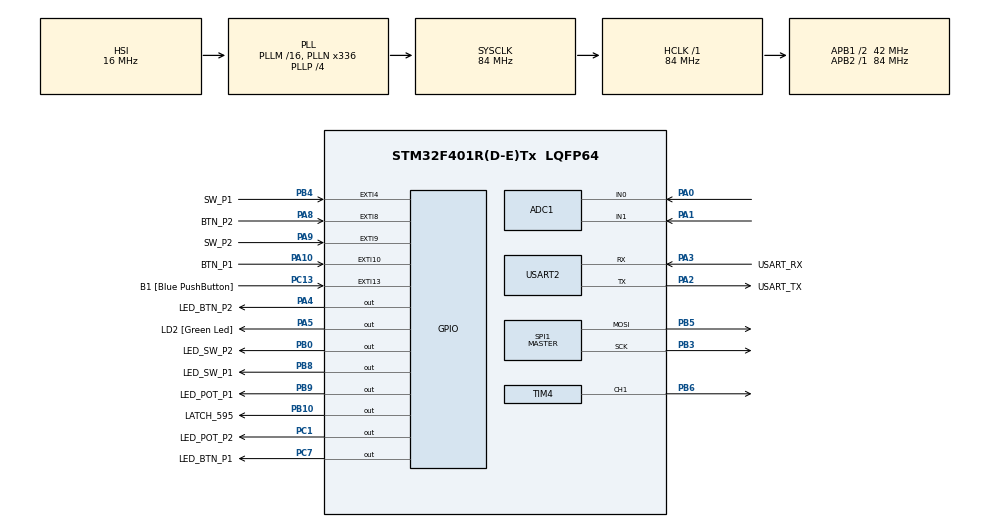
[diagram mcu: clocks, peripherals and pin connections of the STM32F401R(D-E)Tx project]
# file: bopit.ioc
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ADC1.Channel-0\#ChannelRegularConversion=ADC_CHANNEL_0
ADC1.Channel-1\#ChannelRegularConversion=ADC_CHANNEL_1
ADC1.ContinuousConvMode=ENABLE
ADC1.DMAContinuousRequests=ENABLE
ADC1.DiscontinuousConvMode=DISABLE
ADC1.NbrOfConversion=2
ADC1.NbrOfConversionFlag=1
ADC1.Rank-0\#ChannelRegularConversion=1
ADC1.Rank-1\#ChannelRegularConversion=2
ADC1.SamplingTime-0\#ChannelRegularConversion=ADC_SAMPLETIME_84CYCLES
ADC1.SamplingTime-1\#ChannelRegularConversion=ADC_SAMPLETIME_84CYCLES
ADC1.ScanConvMode=ENABLE
ADC1.master=1
Dma.ADC1.0.Direction=DMA_PERIPH_TO_MEMORY
Dma.ADC1.0.FIFOMode=DMA_FIFOMODE_DISABLE
Dma.ADC1.0.Instance=DMA2_Stream0
Dma.ADC1.0.MemDataAlignment=DMA_MDATAALIGN_HALFWORD
Dma.ADC1.0.MemInc=DMA_MINC_ENABLE
Dma.ADC1.0.Mode=DMA_CIRCULAR
Dma.ADC1.0.PeriphDataAlignment=DMA_PDATAALIGN_HALFWORD
Dma.ADC1.0.PeriphInc=DMA_PINC_DISABLE
Dma.ADC1.0.Priority=DMA_PRIORITY_LOW
Dma.Request0=ADC1
FREERTOS.Tasks01=defaultTask,24,128,StartDefaultTask,Default,NULL,Dynamic,NULL,NULL
FREERTOS.configCHECK_FOR_STACK_OVERFLOW=2
FREERTOS.configTOTAL_HEAP_SIZE=32768
FREERTOS.configUSE_MALLOC_FAILED_HOOK=1
FREERTOS.configUSE_NEWLIB_REENTRANT=1
Mcu.Family=STM32F4
Mcu.Name=STM32F401R(D-E)Tx
Mcu.Package=LQFP64
NVIC.DMA2_Stream0_IRQn=true\:5\:0\:false\:false\:true\:true\:false\:true\:true
NVIC.EXTI15_10_IRQn=true\:5\:0\:false\:false\:true\:true\:true\:true\:true
NVIC.EXTI4_IRQn=true\:5\:0\:true\:false\:true\:true\:true\:true\:true
NVIC.EXTI9_5_IRQn=true\:5\:0\:true\:false\:true\:true\:true\:true\:true
NVIC.PriorityGroup=NVIC_PRIORITYGROUP_4
NVIC.TIM1_TRG_COM_TIM11_IRQn=true\:15\:0\:false\:false\:true\:false\:false\:true\:true
NVIC.TimeBase=TIM1_TRG_COM_TIM11_IRQn
NVIC.TimeBaseIP=TIM11
PA0-WKUP.Signal=ADCx_IN0
PA1.Signal=ADCx_IN1
PA10.GPIO_Label=BTN_P1
PA10.GPIO_ModeDefaultEXTI=GPIO_MODE_IT_FALLING
PA10.GPIO_PuPd=GPIO_PULLUP
PA10.Signal=GPXTI10
PA13.GPIO_Label=TMS
PA13.Signal=SYS_JTMS-SWDIO
PA14.GPIO_Label=TCK
PA14.Signal=SYS_JTCK-SWCLK
PA2.GPIO_Label=USART_TX
PA2.GPIO_Mode=GPIO_MODE_AF_PP
PA2.GPIO_PuPd=GPIO_NOPULL
PA2.GPIO_Speed=GPIO_SPEED_FREQ_LOW
PA2.Mode=Asynchronous
PA2.Signal=USART2_TX
PA3.GPIO_Label=USART_RX
PA3.GPIO_Mode=GPIO_MODE_AF_PP
PA3.GPIO_PuPd=GPIO_NOPULL
PA3.GPIO_Speed=GPIO_SPEED_FREQ_LOW
PA3.Mode=Asynchronous
PA3.Signal=USART2_RX
PA4.GPIO_Label=LED_BTN_P2
PA4.Signal=GPIO_Output
PA5.GPIO_Label=LD2 [Green Led]
PA5.GPIO_Mode=GPIO_MODE_OUTPUT_PP
PA5.GPIO_PuPd=GPIO_NOPULL
PA5.GPIO_Speed=GPIO_SPEED_FREQ_LOW
PA5.Signal=GPIO_Output
PA8.GPIO_Label=BTN_P2
PA8.GPIO_ModeDefaultEXTI=GPIO_MODE_IT_FALLING
PA8.GPIO_PuPd=GPIO_PULLUP
PA8.Signal=GPXTI8
PA9.GPIO_Label=SW_P2
PA9.GPIO_ModeDefaultEXTI=GPIO_MODE_IT_RISING_FALLING
PA9.GPIO_PuPd=GPIO_PULLUP
PA9.Signal=GPXTI9
PB0.GPIO_Label=LED_SW_P2
PB0.Signal=GPIO_Output
PB10.GPIO_Label=LATCH_595
PB10.Signal=GPIO_Output
PB3.Mode=TX_Only_Simplex_Unidirect_Master
PB3.Signal=SPI1_SCK
PB4.GPIO_Label=SW_P1
PB4.GPIO_ModeDefaultEXTI=GPIO_MODE_IT_RISING_FALLING
PB4.GPIO_PuPd=GPIO_PULLUP
PB4.Signal=GPXTI4
PB5.Mode=TX_Only_Simplex_Unidirect_Master
PB5.Signal=SPI1_MOSI
PB6.Signal=S_TIM4_CH1
PB8.GPIO_Label=LED_SW_P1
PB8.Signal=GPIO_Output
PB9.GPIO_Label=LED_POT_P1
PB9.Signal=GPIO_Output
PC1.GPIO_Label=LED_POT_P2
PC1.Signal=GPIO_Output
PC13-ANTI_TAMP.GPIO_Label=B1 [Blue PushButton]
PC13-ANTI_TAMP.GPIO_ModeDefaultEXTI=GPIO_MODE_IT_FALLING
PC13-ANTI_TAMP.GPIO_PuPd=GPIO_NOPULL
PC13-ANTI_TAMP.Signal=GPXTI13
PC14-OSC32_IN.Mode=LSE-External-Oscillator
PC14-OSC32_IN.Signal=RCC_OSC32_IN
PC15-OSC32_OUT.Mode=LSE-External-Oscillator
PC15-OSC32_OUT.Signal=RCC_OSC32_OUT
PC7.GPIO_Label=LED_BTN_P1
PC7.Signal=GPIO_Output
PH0\ -\ OSC_IN.Mode=HSE-External-Clock-Source
PH0\ -\ OSC_IN.Signal=RCC_OSC_IN
PH1\ -\ OSC_OUT.Mode=HSE-External-Clock-Source
PH1\ -\ OSC_OUT.Signal=RCC_OSC_OUT
ProjectManager.HeapSize=0x200
ProjectManager.StackSize=0x400
ProjectManager.TargetToolchain=STM32CubeIDE
RCC.48MHZClocksFreq_Value=48000000
RCC.AHBFreq_Value=84000000
RCC.APB1CLKDivider=RCC_HCLK_DIV2
RCC.APB1Freq_Value=42000000
RCC.APB1TimFreq_Value=84000000
RCC.APB2Freq_Value=84000000
RCC.APB2TimFreq_Value=84000000
RCC.CortexFreq_Value=84000000
RCC.HCLKFreq_Value=84000000
RCC.HSE_VALUE=8000000
RCC.HSI_VALUE=16000000
RCC.PLLN=336
RCC.PLLP=RCC_PLLP_DIV4
RCC.PLLQ=7
RCC.SYSCLKFreq_VALUE=84000000
RCC.SYSCLKSource=RCC_SYSCLKSOURCE_PLLCLK
RCC.VCOOutputFreq_Value=336000000
SH.ADCx_IN0.0=ADC1_IN0,IN0
SH.ADCx_IN1.0=ADC1_IN1,IN1
SH.S_TIM4_CH1.0=TIM4_CH1,PWM Generation1 CH1
SPI1.BaudRatePrescaler=SPI_BAUDRATEPRESCALER_16
SPI1.Direction=SPI_DIRECTION_2LINES
SPI1.Mode=SPI_MODE_MASTER
SPI1.VirtualType=VM_MASTER
TIM2.Prescaler=83
TIM4.Channel-PWM\ Generation1\ CH1=TIM_CHANNEL_1
TIM4.Period=999
TIM4.Prescaler=83
USART2.VirtualMode=VM_ASYNC
VP_FREERTOS_VS_CMSIS_V2.Mode=CMSIS_V2
VP_SYS_VS_tim11.Mode=TIM11
VP_TIM2_VS_ClockSourceINT.Mode=Internal
board=NUCLEO-F401RE

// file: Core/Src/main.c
/* USER CODE BEGIN Header */
/**
  ******************************************************************************
  * @file           : main.c
  * @brief          : Main program body
  ******************************************************************************
  * @attention
  *
  * Copyright (c) 2026 STMicroelectronics.
  * All rights reserved.
  *
  * This software is licensed under terms that can be found in the LICENSE file
  * in the root directory of this software component.
  * If no LICENSE file comes with this software, it is provided AS-IS.
  *
  ******************************************************************************
  */
/* USER CODE END Header */
#include "main.h"
#include "cmsis_os.h"
#include "adc.h"
#include "dma.h"
#include "spi.h"
#include "tim.h"
#include "usart.h"
#include "gpio.h"
#include "semphr.h"
#include "stm32f4xx_hal.h"
#include "timers.h"

#include <stdbool.h>
#include <stdarg.h>
#include <stdio.h>

/* USER CODE BEGIN PV */

// Enums and Structs
typedef enum {
  BOP, TWIST, PULL
} State;

// Results of both players at the end of a round
typedef struct {
  uint32_t player1_time;
  uint32_t player2_time;
} Time_Result;

// Arguments handed to each player task on creation
typedef struct {
  QueueHandle_t inputQueue;   // ISR -> player
  QueueHandle_t resultQueue;  // player -> IO manager
} Player_Args;

// Game settings
#define SCORE_THRESHOLD 9
#define ROUND_PAUSE_MS  1000   // pause before every round so the players can get ready
#define DEBOUNCE_MS     30     // after a button/switch edge, further edges on that pin are ignored for this long
#define TWIST_THRESHOLD 1000   // ADC counts (of 4095) a pot must move from its position at the cue
#define POT_POLL_MS     1      // how often the pots are checked

// Round timing
#define ROUND_TIMEOUT_START_MS  3000
#define ROUND_TIMEOUT_STEP_MS   100   // shorten a round by this amount
#define ROUND_TIMEOUT_MIN_MS    1000
#define LATE_GRACE_MS           500     // after the limit a correct input is still noticed and reported as "late" (no point). 0 = off
#define NO_REACTION             0xFFFFFFFFu   // "reaction time" of a player who did not react at all

// Outputs
#define SEG_COMMON_ANODE  0     // set to 1 if the 7-segment displays are common anode
// Buzzer default parameters
#define BEEP_HZ           1000
#define BEEP_MS           100

// Task priorities
#define PRIO_PLAYER     osPriorityAboveNormal
#define PRIO_IO         osPriorityAboveNormal
#define PRIO_ROUND      osPriorityNormal
#define PRIO_SCORE      osPriorityBelowNormal
#define PRIO_POT        osPriorityAboveNormal

// Stack settings
#define STACK_WORDS     256
#define STACK_ROUND_WORDS 512   // the round manager formats text for the UART log

// semaphores and mutexes

static SemaphoreHandle_t gameStateMutex;
static State gameState;

static SemaphoreHandle_t scoreMutex;
static size_t player1_score = 0;
static size_t player2_score = 0;

// best (shortest) on-time reaction of each player, in ms
static uint32_t best_time[2] = { NO_REACTION, NO_REACTION };

// time to react in a round (changed by the round manager)
static volatile uint32_t round_timeout_ms = ROUND_TIMEOUT_START_MS;

// Handles for tasks
TaskHandle_t round_manager_handle = NULL;
TaskHandle_t io_manager_handle = NULL;
TaskHandle_t player1_handle = NULL;
TaskHandle_t player2_handle = NULL;
TaskHandle_t score_manager_handle = NULL;
TaskHandle_t pot_monitor_handle = NULL;

// Handles for queues

// from ISR to players
QueueHandle_t player1_input;
QueueHandle_t player2_input;

// from players to Io Manager
QueueHandle_t player1_result;
QueueHandle_t player2_result;

QueueHandle_t io_manager_result;

// Enum aliases for various pins.

// Convenience struct for pin info. Uses CubeMX user labels.
typedef struct {
  GPIO_TypeDef *port;
  uint16_t pin;
} Pin;

// Indicator lights
static const Pin led_twist = { LED_POT_P1_GPIO_Port, LED_POT_P1_Pin };   // D14
static const Pin led_bop   = { LED_BTN_P1_GPIO_Port, LED_BTN_P1_Pin };   // D9
static const Pin led_pull  = { LED_SW_P1_GPIO_Port,  LED_SW_P1_Pin };    // D15

// Inputs Player 1
static const uint16_t pin_bop1   = BTN_P1_Pin;   // PA10 (D2)
static const uint16_t pin_pull1  = SW_P1_Pin;    // PB4  (D5)

// Inputs player 2
static const uint16_t pin_bop2   = BTN_P2_Pin;   // PA8  (D7)
static const uint16_t pin_pull2  = SW_P2_Pin;    // PA9  (D8)

// 7 seg displays for score
uint16_t pin_score;
// uint16_t pin_score1;
// uint16_t pin_score2;

// Buzzer
uint16_t pin_buzzer;

/* USER CODE END PV */

// Buzzer with 1 MHz timer
void buzzer_tone(uint32_t hz)
{
  if (hz == 0) {
    __HAL_TIM_SET_COMPARE(&htim4, TIM_CHANNEL_1, 0);          // silent
    return;
  }
  uint32_t period = 1000000u / hz;
  __HAL_TIM_SET_AUTORELOAD(&htim4, period - 1);
  __HAL_TIM_SET_COMPARE(&htim4, TIM_CHANNEL_1, period / 2);   // 50 % duty
}

void buzz(uint32_t hz, uint32_t ms)
{
  buzzer_tone(hz);
  vTaskDelay(pdMS_TO_TICKS(ms));
  buzzer_tone(0);
}

// xorshift32 pseudo random generator. It keeps its state between calls.
static uint32_t random_state = 0;

uint32_t random_next(void)
{
  if (random_state == 0) {
    // define random state.
    random_state = (HAL_GetTick() ^ (SysTick->VAL << 8)) | 1u;
  }
  uint32_t x = random_state;
  x ^= x << 13;
  x ^= x >> 17;
  x ^= x << 5;
  random_state = x;
  return x;
}

State get_random_gameState() {
  // the states that can be asked (TWIST only once the pot is implemented)
  return (State) (random_next() % 3);
}

void buzz_once()
{
  buzz(BEEP_HZ, BEEP_MS);
}

void led_write(const Pin *led, GPIO_PinState state)
{
  HAL_GPIO_WritePin(led->port, led->pin, state);
}

// Set all LEDs to the same input state
void set_all_leds(GPIO_PinState pinState)
{
  led_write(&led_twist, pinState);
  led_write(&led_bop, pinState);
  led_write(&led_pull, pinState);
}

// 7-segment displays: two 74HC595 shift registers, daisy chained on SPI1 (left chip = player 1, right chip = player 2)
// bit0 = segment a ... bit6 = g (595 outputs QA..QG)
static const uint8_t seg_digit[10] = {
    0xC0, 0xF9, 0xA4, 0xB0, 0x99,
    0x92, 0x82, 0xF8, 0x80, 0x90
};

static uint8_t seg_pattern(size_t digit)
{
  uint8_t v = seg_digit[digit > 9 ? 9 : digit];
#if SEG_COMMON_ANODE
  v = (uint8_t)~v;
#endif
  return v;
}

// Show input values on 7-segment displays
void display_show(size_t score1, size_t score2)
{
  // the first byte clocked out ends up in the last chip of the chain: player 1 (left) goes first
  uint8_t frame[2] = { seg_pattern(score1), seg_pattern(score2) };
  HAL_SPI_Transmit(&hspi1, frame, 2, 10);
  HAL_GPIO_WritePin(LATCH_595_GPIO_Port, LATCH_595_Pin, GPIO_PIN_SET);    // outputs take the new bits
  HAL_GPIO_WritePin(LATCH_595_GPIO_Port, LATCH_595_Pin, GPIO_PIN_RESET);
}

// UART log (115200 baud, ST-LINK virtual COM port).
void uart_printf(const char *fmt, ...)
{
  char buf[160];
  va_list ap;
  va_start(ap, fmt);
  int n = vsnprintf(buf, sizeof buf, fmt, ap);
  va_end(ap);
  if (n > 0) {
    HAL_UART_Transmit(&huart2, (uint8_t *)buf, (uint16_t)(n < (int)sizeof buf ? n : (int)sizeof buf - 1), 100);
  }
}

// Potentiometer monitoring for Twist.
static volatile uint16_t pot_raw[2];
static volatile uint16_t pot_ref[2];      // pot position at the cue
static volatile bool pot_armed = false;   // true while a TWIST round is running
static volatile bool pot_fired[2];        // this pot already reported its move in this round

// Reset old pot data, set pots to active, store current pot values
void pot_arm(void)
{
  pot_ref[0] = pot_raw[0];
  pot_ref[1] = pot_raw[1];
  pot_fired[0] = false;
  pot_fired[1] = false;
  pot_armed = true;
}

// Disable pot monitoring
void pot_disarm(void)
{
  pot_armed = false;
}

// Repeatedly poll the pots to see if they've been twisted.
void pot_monitor(void *args)
{
  (void)args;
  TickType_t last_wake = xTaskGetTickCount();

  for (;;) {
    vTaskDelayUntil(&last_wake, pdMS_TO_TICKS(POT_POLL_MS));
    if (!pot_armed)
      continue;

    // For both pots..
    for (int p = 0; p < 2; p++) {
      int32_t delta = (int32_t)pot_raw[p] - (int32_t)pot_ref[p];

      if (delta < 0)
        delta = -delta;

      // if moved far enough and not reported yet
      if (!pot_fired[p] && delta >= TWIST_THRESHOLD) {
        // Mark pot as fired and communicate to relevant player
        pot_fired[p] = true;
        State state = TWIST;
        xQueueSend(p == 0 ? player1_input : player2_input, &state, 0);
      }
    }
  }
}

// Time a player has to react in this round.
// Timeout shrinks every round, down to a minimum
static uint32_t timeout_for_round(uint32_t round)
{
  uint32_t cut = (round - 1) * ROUND_TIMEOUT_STEP_MS;
  uint32_t max_cut = ROUND_TIMEOUT_START_MS - ROUND_TIMEOUT_MIN_MS;
  return (cut >= max_cut) ? ROUND_TIMEOUT_MIN_MS : (ROUND_TIMEOUT_START_MS - cut);
}

typedef enum {
  REACTION_NONE,   // the player did not react at all
  REACTION_LATE,   // correct input, but after the time limit
  REACTION_OK      // correct input in time
} Reaction;

static Reaction classify(uint32_t time_ms, uint32_t timeout_ms)
{
  if (time_ms == NO_REACTION) {
    return REACTION_NONE;
  }
  return (time_ms > timeout_ms) ? REACTION_LATE : REACTION_OK;
}

// Formatted text for the log: "312 ms", "late (3105 ms)" or "none"
static void format_reaction(char *buf, size_t len, uint32_t time_ms, Reaction kind)
{
  switch (kind) {
    case REACTION_OK:
      snprintf(buf, len, "%lu ms", (unsigned long)time_ms);
      break;

    case REACTION_LATE:
      snprintf(buf, len, "late (%lu ms)", (unsigned long)time_ms);
      break;

    default:
      snprintf(buf, len, "none");
      break;
  }
}

// Get name of state as a string
static const char *state_name(State state)
{
  switch (state) {
    case BOP:   return "BOP";
    case TWIST: return "TWIST";
    default:    return "PULL";
  }
}

void round_manager(void *args) {
  for (;;) {

    // wait for blue button
    uart_printf("\r\nBOP-IT: Press the blue button to start (first to %u wins, free heap %u bytes)\r\n",
                (unsigned)SCORE_THRESHOLD, (unsigned)xPortGetFreeHeapSize());
    ulTaskNotifyTake(pdTRUE, 0);              // forget presses from before
    ulTaskNotifyTake(pdTRUE, portMAX_DELAY);

    // Reset scores and start new game
    xSemaphoreTake(scoreMutex, portMAX_DELAY);
    player1_score = 0;
    player2_score = 0;
    xSemaphoreGive(scoreMutex);

    // Reset best time and score displays
    xTaskNotifyGive(score_manager_handle);
    best_time[0] = NO_REACTION;
    best_time[1] = NO_REACTION;

    int game_winner = 0; // 0 = no winner, game is still running
    for (uint32_t round = 1; game_winner == 0; round++) {

      // Turn off all LEDs
      set_all_leds(GPIO_PIN_RESET);

      // short pause so the players can get ready
      vTaskDelay(pdMS_TO_TICKS(ROUND_PAUSE_MS));

      // time to react in this round (the players read it when they are started)
      round_timeout_ms = timeout_for_round(round);

      // buzz once: the round starts
      buzz_once();

      // start I/O manager
      xTaskNotifyGive(io_manager_handle);

      // wait for I/O manager with timing results (the result queue is the only signal)
      Time_Result timeResult;
      xQueueReceive(io_manager_result, &timeResult, portMAX_DELAY);

      // classify both reactions: in time, late (after the limit) or none at all
      uint32_t p1_time = timeResult.player1_time;
      uint32_t p2_time = timeResult.player2_time;
      Reaction r1 = classify(p1_time, round_timeout_ms);
      Reaction r2 = classify(p2_time, round_timeout_ms);

      // determine winner: the faster of the players who were in time. Late or no reaction = no point.
      int winner = 0;                         // 0 = nobody scores this round
      if (r1 == REACTION_OK && r2 == REACTION_OK) {
        winner = (p1_time < p2_time) ? 1 : 2; // equal times: player 2 (ties are not handled yet)
      } else if (r1 == REACTION_OK) {
        winner = 1;
      } else if (r2 == REACTION_OK) {
        winner = 2;
      }

      // best reaction time of each player (in-time reactions only)
      if (r1 == REACTION_OK && p1_time < best_time[0]) {
        best_time[0] = p1_time;
      }
      if (r2 == REACTION_OK && p2_time < best_time[1]) {
        best_time[1] = p2_time;
      }

      // update scores and tell the score manager
      xSemaphoreTake(scoreMutex, portMAX_DELAY);
      if (winner == 1) {
        player1_score++;
      } else if (winner == 2) {
        player2_score++;
      }

      size_t score1 = player1_score;
      size_t score2 = player2_score;
      xSemaphoreGive(scoreMutex);
      xTaskNotifyGive(score_manager_handle);

      // log the round
      char t1[24], t2[24], b1[24], b2[24];
      format_reaction(t1, sizeof t1, p1_time, r1);
      format_reaction(t2, sizeof t2, p2_time, r2);
      format_reaction(b1, sizeof b1, best_time[0], best_time[0] == NO_REACTION ? REACTION_NONE : REACTION_OK);
      format_reaction(b2, sizeof b2, best_time[1], best_time[1] == NO_REACTION ? REACTION_NONE : REACTION_OK);
      uart_printf("Round %lu (limit %lu ms) %s: P1 %s | P2 %s | %s | score %u-%u | best P1 %s, P2 %s\r\n",
                  (unsigned long)round, (unsigned long)round_timeout_ms, state_name(gameState),
                  t1, t2,
                  winner == 1 ? "P1 scores" : (winner == 2 ? "P2 scores" : "nobody"),
                  (unsigned)score1, (unsigned)score2, b1, b2);

      // if winner threshold reached, enter winstate
      if (score1 >= SCORE_THRESHOLD) {
        game_winner = 1;
      } else if (score2 >= SCORE_THRESHOLD) {
        game_winner = 2;
      }
    }

    // Win state
    set_all_leds(GPIO_PIN_RESET);
    uart_printf("*** Player %d wins! ***\r\n", game_winner);

    // Victory tone
    static const uint32_t notes[] = { 523, 659, 784, 1047, 784, 1047 };

    // flash LEDs
    for (uint32_t i = 0; i < sizeof(notes) / sizeof(notes[0]); i++) {
      GPIO_PinState pinState = (i % 2 == 0) ? GPIO_PIN_SET : GPIO_PIN_RESET;

      set_all_leds(pinState);
      buzz(notes[i], 150);
    }

    set_all_leds(GPIO_PIN_RESET);
  }
}

void io_manager(void *args)
{
  uint32_t player1_value;
  uint32_t player2_value;

  for (;;) {
    // Wait until start notification
    ulTaskNotifyTake(pdTRUE, portMAX_DELAY);

    // pick a random game state.
    if (xSemaphoreTake(gameStateMutex, portMAX_DELAY) == pdTRUE) {
      gameState = get_random_gameState();
      xSemaphoreGive(gameStateMutex);
    }

    // Discard irrelevant inputs outside of this round.
    xQueueReset(player1_input);
    xQueueReset(player2_input);

    // Turn on the correct LEDs
    switch (gameState) {
      case BOP:
        led_write(&led_bop, GPIO_PIN_SET);
      break;
      case TWIST:
        led_write(&led_twist, GPIO_PIN_SET);
      break;
      case PULL:
        led_write(&led_pull, GPIO_PIN_SET);
      break;
    }

    if (gameState == TWIST) {
      pot_arm();
    }

    // start player tasks 1 and 2
    xTaskNotifyGive(player1_handle);
    xTaskNotifyGive(player2_handle);

    // wait for both players
    xQueueReceive(player1_result, &player1_value, portMAX_DELAY);
    xQueueReceive(player2_result, &player2_value, portMAX_DELAY);

    pot_disarm();
    set_all_leds(GPIO_PIN_RESET);

    // determine winner. 1 if p1 wins, 2 if p2 wins.
    // a draw is assumed to be impossible
    // uint32_t winner = 1 + (player2_value  < player1_value);

    buzz_once();

    // send results back to round manager.
    Time_Result result = { player1_value, player2_value };
    xQueueSend(io_manager_result, &result, portMAX_DELAY);
  }
}

void player(void *args)
{

  Player_Args* player_args = (Player_Args*) args;

  QueueHandle_t inputQueue = player_args->inputQueue;
  QueueHandle_t resultQueue = player_args->resultQueue;
  State receivedState;

  for (;;) {
    // Wait until IO manager notifies start
    ulTaskNotifyTake(pdTRUE, portMAX_DELAY);

    // Timing
    uint32_t start_time = HAL_GetTick();
    uint32_t max_time = round_timeout_ms + LATE_GRACE_MS;
    uint32_t elapsed = 0;
    uint32_t reaction = NO_REACTION;

    // wait for input
    while(elapsed < max_time) {
      // wait for ISR message until timeout.
      if (xQueueReceive(inputQueue, &receivedState, pdMS_TO_TICKS(max_time - elapsed)) == pdPASS) {
        // Get game state mutex to verify player input
        if (xSemaphoreTake(gameStateMutex, portMAX_DELAY) == pdTRUE) {
          // correct input
          if (receivedState == gameState) {
            reaction = HAL_GetTick() - start_time;
            xSemaphoreGive(gameStateMutex); // release mutex
            break; // exit while loop and go back to initial waiting state again
          }
          // Release mutex, go back to waiting for input
          xSemaphoreGive(gameStateMutex);
        }
      }
      elapsed = HAL_GetTick() - start_time;
    }
    xQueueOverwrite(resultQueue, &reaction);
  }
}

void score_manager(void *args)
{
  for (;;) {
    // wait until notification is received
    ulTaskNotifyTake(pdTRUE, portMAX_DELAY);

    // read score mutex
    xSemaphoreTake(scoreMutex, portMAX_DELAY);
    size_t score1 = player1_score;
    size_t score2 = player2_score;
    xSemaphoreGive(scoreMutex);

    // update 7 seg displays
    display_show(score1, score2);
  }
}

// Creates the mutex, the queues and the tasks. Called once from main(), before the scheduler starts.
static Player_Args player1_args;
static Player_Args player2_args;

void game_init(void)
{
  // Let potentiometer use DMA for faster polling
  if (HAL_ADC_Start_DMA(&hadc1, (uint32_t *)pot_raw, 2) != HAL_OK) {
    Error_Handler();
  }
  HAL_NVIC_DisableIRQ(DMA2_Stream0_IRQn);

  // buzzer: PWM running with the compare value 0 (silent); buzzer_tone() sets the pitch
  HAL_TIM_PWM_Start(&htim4, TIM_CHANNEL_1);
  buzzer_tone(0);

  // show 0 on displays
  display_show(0, 0);

  gameStateMutex = xSemaphoreCreateMutex();
  scoreMutex = xSemaphoreCreateMutex();

  // Set up queues
  player1_input = xQueueCreate(8, sizeof(State));
  player2_input = xQueueCreate(8, sizeof(State));

  player1_result = xQueueCreate(1, sizeof(uint32_t));
  player2_result = xQueueCreate(1, sizeof(uint32_t));

  io_manager_result = xQueueCreate(1, sizeof(Time_Result));

  // Initialization safety check.
  if (gameStateMutex == NULL || scoreMutex == NULL || player1_input == NULL || player2_input == NULL ||
      player1_result == NULL || player2_result == NULL || io_manager_result == NULL) {
    Error_Handler();
  }

  player1_args.inputQueue = player1_input;
  player1_args.resultQueue = player1_result;
  player2_args.inputQueue = player2_input;
  player2_args.resultQueue = player2_result;

  // Create all tasks with error handling.
  if (xTaskCreate(io_manager, "io_manager", STACK_WORDS, NULL, PRIO_IO, &io_manager_handle) != pdPASS ||
      xTaskCreate(player, "player1", STACK_WORDS, &player1_args, PRIO_PLAYER, &player1_handle) != pdPASS ||
      xTaskCreate(player, "player2", STACK_WORDS, &player2_args, PRIO_PLAYER, &player2_handle) != pdPASS ||
      xTaskCreate(score_manager, "score_manager", STACK_WORDS, NULL, PRIO_SCORE, &score_manager_handle) != pdPASS ||
      xTaskCreate(round_manager, "round_manager", STACK_ROUND_WORDS, NULL, PRIO_ROUND, &round_manager_handle) != pdPASS ||
      xTaskCreate(pot_monitor, "pot_monitor", 128, NULL, PRIO_POT, &pot_monitor_handle) != pdPASS) {
    Error_Handler();
  }
}

void SystemClock_Config(void);
void MX_FREERTOS_Init(void);

int main(void)
{

  /* MCU Configuration--------------------------------------------------------*/

  /* Reset of all peripherals, Initializes the Flash interface and the Systick. */
  HAL_Init();

  /* Configure the system clock */
  SystemClock_Config();

  /* Initialize all configured peripherals */
  MX_GPIO_Init();
  MX_DMA_Init();
  MX_ADC1_Init();
  MX_SPI1_Init();
  MX_USART2_UART_Init();
  MX_TIM2_Init();
  MX_TIM4_Init();
  /* USER CODE BEGIN 2 */
  game_init();
  /* USER CODE END 2 */

  /* Init scheduler */
  osKernelInitialize();  /* Call init function for freertos objects (in cmsis_os2.c) */
  MX_FREERTOS_Init();

  /* Start scheduler */
  osKernelStart();

  /* We should never get here as control is now taken by the scheduler */

  /* Infinite loop */
  while (1)
  {

  }
}

void SystemClock_Config(void)
{
  RCC_OscInitTypeDef RCC_OscInitStruct = {0};
  RCC_ClkInitTypeDef RCC_ClkInitStruct = {0};

  /** Configure the main internal regulator output voltage
  */
  __HAL_RCC_PWR_CLK_ENABLE();
  __HAL_PWR_VOLTAGESCALING_CONFIG(PWR_REGULATOR_VOLTAGE_SCALE2);

  /** Initializes the RCC Oscillators according to the specified parameters
  * in the RCC_OscInitTypeDef structure.
  */
  RCC_OscInitStruct.OscillatorType = RCC_OSCILLATORTYPE_HSI;
  RCC_OscInitStruct.HSIState = RCC_HSI_ON;
  RCC_OscInitStruct.HSICalibrationValue = RCC_HSICALIBRATION_DEFAULT;
  RCC_OscInitStruct.PLL.PLLState = RCC_PLL_ON;
  RCC_OscInitStruct.PLL.PLLSource = RCC_PLLSOURCE_HSI;
  RCC_OscInitStruct.PLL.PLLM = 16;
  RCC_OscInitStruct.PLL.PLLN = 336;
  RCC_OscInitStruct.PLL.PLLP = RCC_PLLP_DIV4;
  RCC_OscInitStruct.PLL.PLLQ = 7;
  if (HAL_RCC_OscConfig(&RCC_OscInitStruct) != HAL_OK)
  {
    Error_Handler();
  }

  /** Initializes the CPU, AHB and APB buses clocks
  */
  RCC_ClkInitStruct.ClockType = RCC_CLOCKTYPE_HCLK|RCC_CLOCKTYPE_SYSCLK
                              |RCC_CLOCKTYPE_PCLK1|RCC_CLOCKTYPE_PCLK2;
  RCC_ClkInitStruct.SYSCLKSource = RCC_SYSCLKSOURCE_PLLCLK;
  RCC_ClkInitStruct.AHBCLKDivider = RCC_SYSCLK_DIV1;
  RCC_ClkInitStruct.APB1CLKDivider = RCC_HCLK_DIV2;
  RCC_ClkInitStruct.APB2CLKDivider = RCC_HCLK_DIV1;

  if (HAL_RCC_ClockConfig(&RCC_ClkInitStruct, FLASH_LATENCY_2) != HAL_OK)
  {
    Error_Handler();
  }
}

void HAL_TIM_PeriodElapsedCallback(TIM_HandleTypeDef *htim)
{
  if (htim->Instance == TIM11)
  {
    HAL_IncTick();
  }
}

void HAL_GPIO_EXTI_Callback(uint16_t GPIO_Pin)
{
    BaseType_t higher_priority_task_woken = pdFALSE;
    QueueHandle_t queue = NULL;
    State state;
    // Player 1
    if (GPIO_Pin == pin_bop1) {
        queue = player1_input;
        state = BOP;
    } else if (GPIO_Pin == pin_pull1) {
        queue = player1_input;
        state = PULL;
    // Player 2
    } else if (GPIO_Pin == pin_bop2) {
        queue = player2_input;
        state = BOP;
    } else if (GPIO_Pin == pin_pull2) {
        queue = player2_input;
        state = PULL;
    } else if (GPIO_Pin == B1_Pin) {
      // Restart the game

      static uint32_t last_b1_ms;
      uint32_t now_b1 = HAL_GetTick();
      if ((now_b1 - last_b1_ms) >= DEBOUNCE_MS) {
          last_b1_ms = now_b1;
          if (round_manager_handle != NULL)
            vTaskNotifyGiveFromISR(round_manager_handle, &higher_priority_task_woken);
      }
      portYIELD_FROM_ISR(higher_priority_task_woken);
      return;
    } else {
        return;  // Irrelevant
    }

    // Debounce: the first edge is the real press. A contact bounces for a few ms, so ignore
    // further edges on the same pin for DEBOUNCE_MS (no delay is added to the real press).
    static uint32_t last_edge_ms[16];
    uint32_t line = __builtin_ctz(GPIO_Pin);
    uint32_t now = HAL_GetTick();
    if ((now - last_edge_ms[line]) < DEBOUNCE_MS) {
      return;
    }
    last_edge_ms[line] = now;

    if (queue != NULL) {
      xQueueSendFromISR(queue, &state, &higher_priority_task_woken);
    }

    portYIELD_FROM_ISR(higher_priority_task_woken);
}

void Error_Handler(void)
{
  __disable_irq();
  while (1)
  {
  }
}

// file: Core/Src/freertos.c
/* USER CODE BEGIN Header */
/**
  ******************************************************************************
  * File Name          : freertos.c
  * Description        : Code for freertos applications
  ******************************************************************************
  * @attention
  *
  * Copyright (c) 2026 STMicroelectronics.
  * All rights reserved.
  *
  * This software is licensed under terms that can be found in the LICENSE file
  * in the root directory of this software component.
  * If no LICENSE file comes with this software, it is provided AS-IS.
  *
  ******************************************************************************
  */
/* USER CODE END Header */

#include "FreeRTOS.h"
#include "task.h"
#include "main.h"
#include "cmsis_os.h"

/* USER CODE BEGIN Includes */
// #include "game.h"
/* USER CODE END Includes */

/* Definitions for defaultTask */
osThreadId_t defaultTaskHandle;
const osThreadAttr_t defaultTask_attributes = {
  .name = "defaultTask",
  .stack_size = 128 * 4,
  .priority = (osPriority_t) osPriorityNormal,
};

void StartDefaultTask(void *argument);

void MX_FREERTOS_Init(void); /* (MISRA C 2004 rule 8.1) */

/* Hook prototypes */
void vApplicationStackOverflowHook(xTaskHandle xTask, signed char *pcTaskName);
void vApplicationMallocFailedHook(void);

/* USER CODE BEGIN 4 */
void vApplicationStackOverflowHook(xTaskHandle xTask, signed char *pcTaskName)
{
   /* Run time stack overflow checking is performed if
   configCHECK_FOR_STACK_OVERFLOW is defined to 1 or 2. This hook function is
   called if a stack overflow is detected. */
}
/* USER CODE END 4 */

/* USER CODE BEGIN 5 */
void vApplicationMallocFailedHook(void)
{
   /* vApplicationMallocFailedHook() will only be called if
   configUSE_MALLOC_FAILED_HOOK is set to 1 in FreeRTOSConfig.h. It is a hook
   function that will get called if a call to pvPortMalloc() fails.
   pvPortMalloc() is called internally by the kernel whenever a task, queue,
   timer or semaphore is created. It is also called by various parts of the
   demo application. If heap_1.c or heap_2.c are used, then the size of the
   heap available to pvPortMalloc() is defined by configTOTAL_HEAP_SIZE in
   FreeRTOSConfig.h, and the xPortGetFreeHeapSize() API function can be used
   to query the size of free heap space that remains (although it does not
   provide information on how the remaining heap might be fragmented). */
}
/* USER CODE END 5 */

void MX_FREERTOS_Init(void) {

  /* Create the thread(s) */
  /* creation of defaultTask */
  defaultTaskHandle = osThreadNew(StartDefaultTask, NULL, &defaultTask_attributes);

  /* USER CODE BEGIN RTOS_THREADS */
  // Game_Init();   /* queues and tasks of the game (App/Src/game.c) */
  /* USER CODE END RTOS_THREADS */

}

void StartDefaultTask(void *argument)
{
  for(;;)
  {
    osDelay(1);
  }
}
